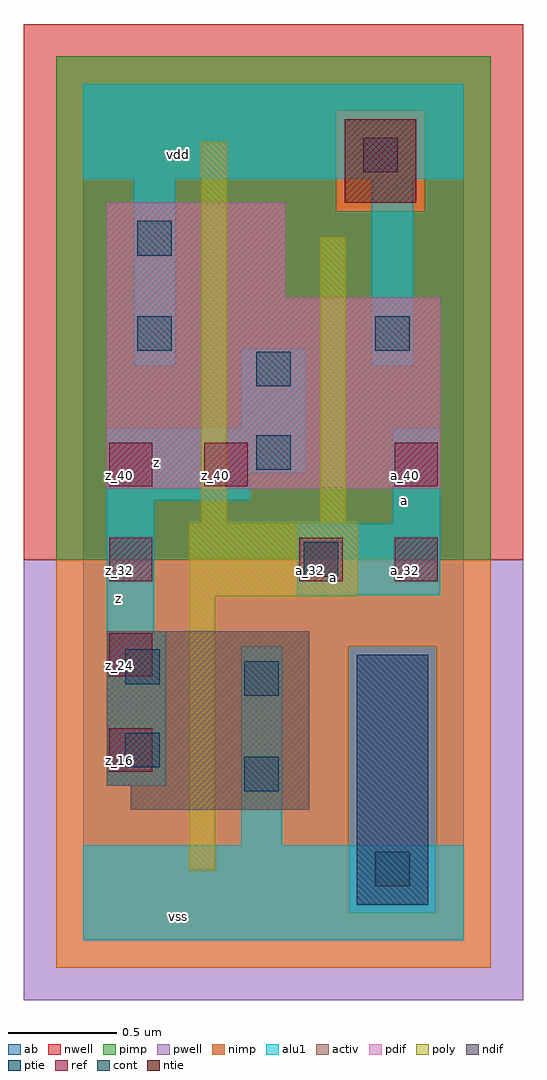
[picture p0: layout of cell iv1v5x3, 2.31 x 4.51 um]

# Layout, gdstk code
import gdstk
lib = gdstk.Library(unit=1e-6, precision=2.5e-09)
def R(c, l, rs):  # rectangles x0, y0, x1, y1
    for r in rs: c.add(gdstk.rectangle(r[:2], r[2:], *l))
def A(c, l, x, y, w, h, nx, ny, dx, dy):  # array of equal rectangles
    R(c, l, [(x+i*dx, y+j*dy, x+i*dx+w, y+j*dy+h) for i in range(nx) for j in range(ny)])
ndif = (3, 0)
pdif = (4, 0)
ntie = (5, 0)
ptie = (6, 0)
ref = (24, 0)
cont = (25, 0)
pwell = (41, 0)
nwell = (42, 0)
activ = (43, 0)
pimp = (44, 0)
nimp = (45, 0)
poly = (46, 0)
alu1 = (49, 0)
ab = (63, 0)

iv1v5x3 = lib.new_cell('iv1v5x3')
R(iv1v5x3, ndif, [(0.22,0.605,1.045,0.715), (0.11,0.715,1.045,1.43)])
R(iv1v5x3, pdif, [(0.11,2.09,1.65,2.97), (0.11,2.97,0.935,3.41)])
R(iv1v5x3, ntie, [(1.21,3.41,1.54,3.795)])
R(iv1v5x3, ptie, [(1.265,0.165,1.595,1.32)])
A(iv1v5x3, ref, 0.12, 0.78, 0.2, 0.2, 1, 4, 0, 0.44)
R(iv1v5x3, ref, [(1,1.66,1.2,1.86), (1.44,1.66,1.64,1.86), (0.56,2.1,0.76,2.3), (1.44,2.1,1.64,2.3)])
R(iv1v5x3, cont, [(1.35,0.25,1.51,0.41), (0.745,0.69,0.905,0.85), (0.195,0.8,0.355,0.96), (0.745,1.13,0.905,1.29), (0.195,1.185,0.355,1.345), (1.02,1.68,1.18,1.84), (0.8,2.175,0.96,2.335), (0.8,2.56,0.96,2.72), (0.25,2.725,0.41,2.885), (1.35,2.725,1.51,2.885), (0.25,3.165,0.41,3.325), (1.295,3.55,1.455,3.71)])
R(iv1v5x3, pwell, [(-0.275,-0.275,2.035,1.76)])
R(iv1v5x3, nwell, [(-0.275,1.76,2.035,4.235)])
R(iv1v5x3, activ, [(1.265,0.165,1.595,1.32), (0.22,0.605,1.045,0.715), (0.11,0.715,1.045,1.43), (0.11,2.09,1.65,2.97), (0.11,2.97,0.935,3.41), (1.21,3.41,1.54,3.795)])
R(iv1v5x3, pimp, [(1.225,0.125,1.635,1.36), (-0.125,1.76,1.885,3.37), (-0.125,3.37,1.17,3.835), (1.58,3.37,1.885,3.835), (-0.125,3.835,1.885,4.085)])
R(iv1v5x3, nimp, [(-0.125,-0.125,1.885,0.125), (-0.125,0.125,1.225,1.36), (1.635,0.125,1.885,1.36), (-0.125,1.36,1.885,1.76), (1.17,3.37,1.58,3.835)])
R(iv1v5x3, poly, [(0.49,0.325,0.61,1.59), (0.49,1.59,1.27,1.93), (0.545,1.93,0.665,3.69), (1.095,1.93,1.215,3.25)])
R(iv1v5x3, alu1, [(0,0,1.76,0.44), (0.73,0.44,0.92,1.36), (0.11,0.715,0.385,1.43), (0.11,1.43,0.33,2.035), (0.99,1.595,1.65,1.925), (1.43,1.925,1.65,2.365), (0.11,2.035,0.77,2.16), (0.11,2.16,1.03,2.365), (0.73,2.365,1.03,2.735), (0.235,2.655,0.425,3.52), (1.335,2.655,1.525,3.52), (0,3.52,1.76,3.96)])
R(iv1v5x3, ab, [(0,0,1.76,3.96)])
iv1v5x3.add(gdstk.Label('vss', (0.44,0.11), layer=49, texttype=0))
iv1v5x3.add(gdstk.Label('a', (1.155,1.6775), layer=49, texttype=0))
iv1v5x3.add(gdstk.Label('a', (1.485,2.035), layer=49, texttype=0))
iv1v5x3.add(gdstk.Label('z', (0.165,1.58), layer=49, texttype=0))
iv1v5x3.add(gdstk.Label('z', (0.34,2.21), layer=49, texttype=0))
iv1v5x3.add(gdstk.Label('vdd', (0.44,3.63), layer=49, texttype=0))
iv1v5x3.add(gdstk.Label('z_40', (0.61,2.15), layer=24, texttype=0))
iv1v5x3.add(gdstk.Label('a_32', (1.05,1.71), layer=24, texttype=0))
iv1v5x3.add(gdstk.Label('a_32', (1.49,1.71), layer=24, texttype=0))
iv1v5x3.add(gdstk.Label('a_40', (1.49,2.15), layer=24, texttype=0))
iv1v5x3.add(gdstk.Label('z_16', (0.17,0.83), layer=24, texttype=0))
iv1v5x3.add(gdstk.Label('z_24', (0.17,1.27), layer=24, texttype=0))
iv1v5x3.add(gdstk.Label('z_32', (0.17,1.71), layer=24, texttype=0))
iv1v5x3.add(gdstk.Label('z_40', (0.17,2.15), layer=24, texttype=0))

lib.write_gds('iv1v5x3.gds')
